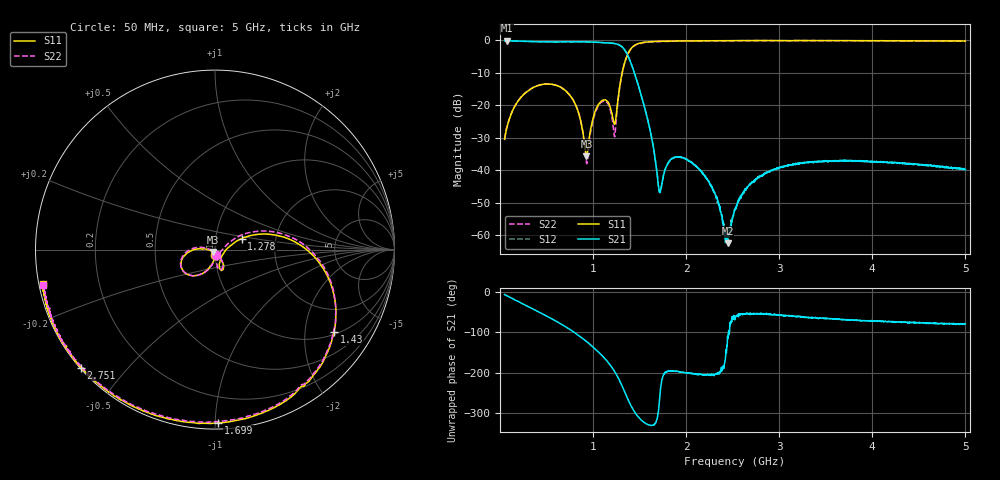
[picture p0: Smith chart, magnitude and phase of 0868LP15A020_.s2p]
!JTI P/N: 0868LP15A020
!Agilent N5230A: A.07.11.03
!Date: Thursday, February 07, 2008 08:57:00
!Correction: S11(Full 2 Port(1,2))
!S21(Full 2 Port(1,2))
!S12(Full 2 Port(1,2))
!S22(Full 2 Port(1,2))
!S2P File: Measurements: S11, S21, S12, S22:
# Hz S  dB  R 50
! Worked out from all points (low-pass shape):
!   1601 points, 50 MHz to 5 GHz, reference 50 ohm
!   highest |S21| = -0.12 dB at 71.66 MHz (marker M1); lowest = -62.4 dB at 2.445 GHz (marker M2)
!   |S21| within 3 dB of the highest: start of sweep to 1.344 GHz
!   lowest |S11| = -35.6 dB at 928.6 MHz (marker M3), VSWR 1.03, Z = 49 - j1.32 ohm
!   |S11| at or under -10 dB: start of sweep to 1.312 GHz
!   |S22| runs from -37.9 to -0.1 dB; largest |S21 - S12| = 0.017
!   S11 on the Smith chart (normalised r, x): 50 MHz: 1.00, -0.06; 1.278 GHz: 1.34, +0.17; 1.43 GHz: 1.09, -2.84; 1.699 GHz: 0.04, -1.02; 2.751 GHz: 0.00, -0.38; 5 GHz: 0.01, -0.10
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5e7  -30.46 -91.9  -0.12 -6.1  -0.13 -6.2  -30.35 -80.9
7.165625e7  -27.10 -94.0  -0.12 -8.7  -0.14 -8.7  -26.91 -89.6
2.263438e8  -17.50 -113.4  -0.24 -27.1  -0.26 -27.1  -17.42 -113.0
4.924062e8  -13.42 -144.8  -0.46 -58.6  -0.48 -58.6  -13.40 -146.3
7.368125e8  -16.40 -173.8  -0.44 -90.8  -0.46 -90.9  -16.44 -177.1
8.760312e8  -26.02 176.8  -0.43 -113.0  -0.44 -113.0  -25.69 170.5
9.28625e8  -35.64 -125.6  -0.44 -122.5  -0.47 -122.5  -37.30 -137.8
1.052375e9  -19.97 -61.4  -0.59 -147.5  -0.60 -147.6  -20.41 -62.4
1.228719e9  -25.76 -35.3  -0.95 163.7  -0.97 163.8  -29.41 -39.8
1.278219e9  -15.86 22.5  -1.35 143.4  -1.36 143.4  -16.19 29.2
1.429812e9  -1.87 -34.6  -8.79 68.5  -8.80 68.6  -1.96 -33.6
1.698969e9  -0.30 -88.9  -44.03 58.0  -43.88 58.3  -0.36 -89.0
1.702062e9  -0.30 -89.2  -44.64 63.1  -44.66 63.1  -0.37 -89.4
1.862938e9  -0.21 -103.2  -36.22 164.1  -36.16 164.4  -0.26 -103.4
2.085688e9  -0.13 -116.1  -38.34 156.1  -38.14 157.5  -0.19 -116.2
2.283688e9  -0.09 -124.4  -45.56 153.9  -45.66 152.9  -0.15 -124.2
2.444562e9  -0.07 -130.0  -62.38 -110.4  -59.67 -129.6  -0.12 -129.5
2.525e9  -0.08 -132.5  -52.18 -59.9  -51.63 -60.6  -0.10 -131.8
2.750844e9  -0.04 -138.7  -42.53 -54.2  -42.79 -52.0  -0.10 -137.5
3.351031e9  -0.05 -151.4  -37.42 -62.8  -37.43 -62.5  -0.07 -149.0
4.177062e9  -0.17 -163.0  -37.63 -72.6  -37.74 -74.0  -0.21 -160.3
5e9  -0.21 -168.7  -39.72 -78.2  -39.76 -79.7  -0.22 -168.5
